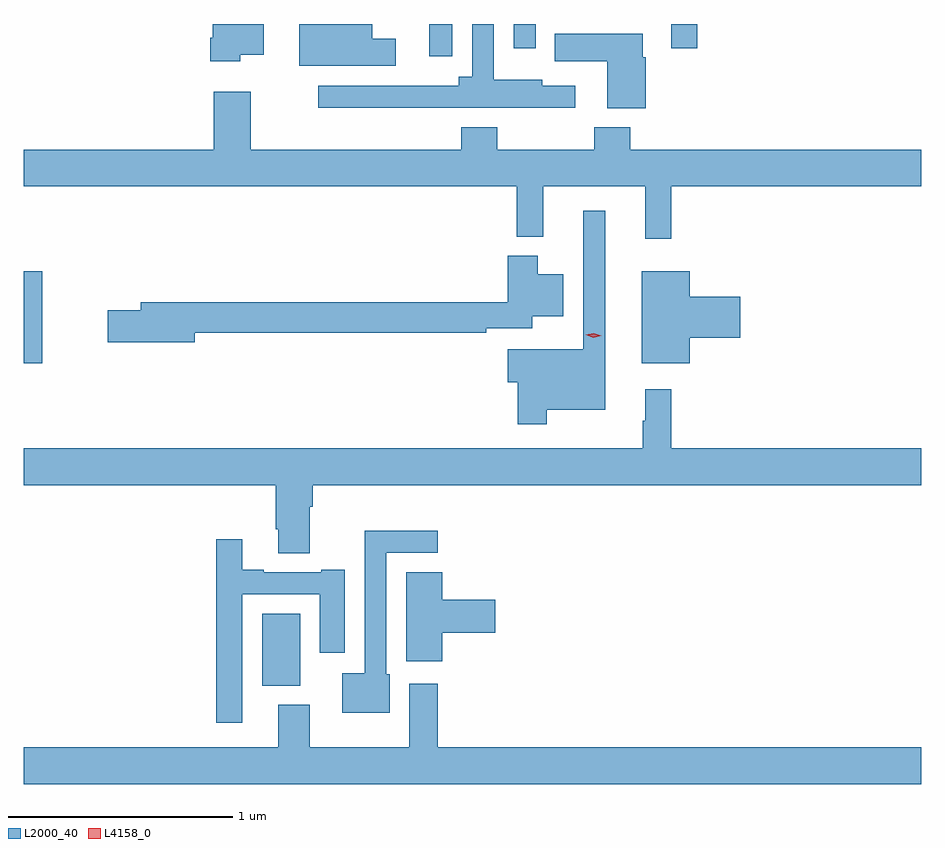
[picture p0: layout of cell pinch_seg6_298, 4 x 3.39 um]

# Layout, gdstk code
import gdstk
lib = gdstk.Library(unit=1e-6, precision=1e-09)
def R(c, l, rs):  # rectangles x0, y0, x1, y1
    for r in rs: c.add(gdstk.rectangle(r[:2], r[2:], *l))
def P(c, l, *ps):  # polygons
    for p in ps: c.add(gdstk.Polygon(p, *l))
L2000_40 = (2000, 40)
L4158_0 = (4158, 0)

pinch_seg6_298 = lib.new_cell('pinch_seg6_298')
R(pinch_seg6_298, L2000_40, [(748.109,961.094,748.279,961.414), (747.047,962.531,747.13,962.941), (748.855,963.9,748.956,964.044), (749.232,963.936,749.328,964.044), (749.934,963.936,750.05,964.044)])
P(pinch_seg6_298, L2000_40, [(748.012,963.908),(748.117,963.908),(748.117,964.044),(747.89,964.044),(747.89,963.982),(747.878,963.982),(747.878,963.878),(748.012,963.878)],
  [(748.705,963.979),(748.6,963.979),(748.6,964.044),(748.274,964.044),(748.274,963.857),(748.705,963.857)],
  [(749.506,963.768),(749.358,963.768),(749.358,963.796),(749.142,963.796),(749.142,964.044),(749.046,964.044),(749.046,963.809),(748.986,963.809),(748.986,963.768),(748.359,963.768),(748.359,963.671),(749.506,963.671)],
  [(749.819,963.896),(749.806,963.896),(749.806,964),(749.413,964),(749.413,963.878),(749.648,963.878),(749.648,963.668),(749.819,963.668)],
  [(749.933,963.32),(751.047,963.32),(751.047,963.484),(749.75,963.484),(749.75,963.583),(749.59,963.583),(749.59,963.484),(749.157,963.484),(749.157,963.583),(748.997,963.583),(748.997,963.484),(748.058,963.484),(748.058,963.742),(747.893,963.742),(747.893,963.484),(747.047,963.484),(747.047,963.32),(749.245,963.32),(749.245,963.095),(749.363,963.095),(749.363,963.32),(749.816,963.32),(749.816,963.087),(749.933,963.087)],
  [(749.377,962.324),(749.638,962.324),(749.638,963.211),(749.541,963.211),(749.541,962.593),(749.204,962.593),(749.204,962.446),(749.248,962.446),(749.248,962.259),(749.377,962.259)],
  [(747.808,962.668),(749.108,962.668),(749.108,962.688),(749.313,962.688),(749.313,962.741),(749.452,962.741),(749.452,962.929),(749.338,962.929),(749.338,963.01),(749.204,963.01),(749.204,962.804),(747.569,962.804),(747.569,962.768),(747.42,962.768),(747.42,962.626),(747.808,962.626)],
  [(750.016,962.645),(750.241,962.645),(750.241,962.828),(750.016,962.828),(750.016,962.941),(749.801,962.941),(749.801,962.531),(750.016,962.531)],
  [(748.321,961.892),(748.334,961.892),(748.334,961.988),(751.047,961.988),(751.047,962.152),(749.933,962.152),(749.933,962.416),(749.816,962.416),(749.816,962.276),(749.805,962.276),(749.805,962.152),(747.047,962.152),(747.047,961.988),(748.169,961.988),(748.169,961.792),(748.181,961.792),(748.181,961.684),(748.321,961.684)],
  [(748.678,961.146),(748.662,961.146),(748.662,961.686),(748.891,961.686),(748.891,961.784),(748.566,961.784),(748.566,961.15),(748.466,961.15),(748.466,960.974),(748.678,960.974)],
  [(748.02,961.503),(748.367,961.503),(748.367,961.242),(748.477,961.242),(748.477,961.612),(748.373,961.612),(748.373,961.599),(748.117,961.599),(748.117,961.612),(748.021,961.612),(748.021,961.747),(747.904,961.747),(747.904,960.93),(748.02,960.93)],
  [(748.913,961.331),(749.149,961.331),(749.149,961.478),(748.913,961.478),(748.913,961.601),(748.751,961.601),(748.751,961.203),(748.913,961.203)],
  [(751.047,960.82),(748.892,960.82),(748.892,961.102),(748.766,961.102),(748.766,960.82),(748.321,960.82),(748.321,961.009),(748.181,961.009),(748.181,960.82),(747.047,960.82),(747.047,960.656),(751.047,960.656)])
P(pinch_seg6_298, L4158_0, [(749.586,962.646),(749.552,962.658),(749.552,962.658),(749.552,962.658),(749.588,962.666),(749.622,962.655),(749.622,962.655),(749.622,962.654)])

lib.write_gds('pinch_seg6_298.gds')
